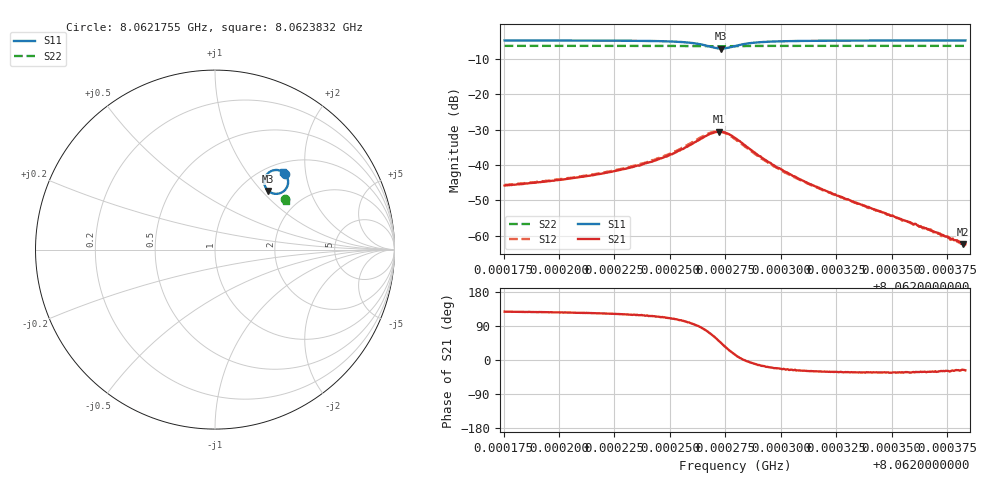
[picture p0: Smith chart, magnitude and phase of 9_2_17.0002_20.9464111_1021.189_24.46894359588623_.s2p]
#  HZ  S  RI  R  50.00
! Rohde & Schwarz Vector Network Analyzer
! Rohde-Schwarz,ZNB20-2Port,1311601062101988,3.16
! Created: UTC 3/20/2024, 10:52:24 PM
! freq[Hz]  re:S11  im:S11  re:S21  im:S21  re:S12  im:S12  re:S22  im:S22
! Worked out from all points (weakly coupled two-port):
!   401 points, 8.0621755 GHz to 8.0623832 GHz, reference 50 ohm
!   highest |S21| = -30.58 dB at 8.0622721 GHz (marker M1); lowest = -62.4 dB at 8.0623822 GHz (marker M2)
!   lowest |S11| = -7.1 dB at 8.0622731 GHz (marker M3), VSWR 2.58, Z = 66.9 + j54.4 ohm
!   |S11| at or under -10 dB: nowhere
!   |S22| runs from -6.4 to -6.3 dB; largest |S21 - S12| = 0.0045
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8.06217547e9  0.3897 0.4228  -0.00312 0.00405  -0.00292 0.00433  0.3922 0.2809
8.06221027e9  0.3961 0.4146  -0.00386 0.00561  -0.00358 0.00595  0.3933 0.2788
8.06223104e9  0.4017 0.4042  -0.00449 0.00779  -0.00414 0.00826  0.3941 0.2773
8.06224506e9  0.4064 0.3888  -0.00492 0.011  -0.00425 0.0118  0.3944 0.2758
8.06225389e9  0.4072 0.3697  -0.00439 0.0152  -0.00327 0.0161  0.3944 0.2745
8.0622622e9  0.3938 0.3367  -0.000271 0.0218  0.00202 0.0227  0.3935 0.2729
8.06226791e9  0.3551 0.312  0.00887 0.0259  0.0126 0.0253  0.3914 0.2725
8.06227207e9  0.3079 0.3192  0.0188 0.0228  0.0222 0.0197  0.3898 0.2738
8.06227311e9  0.2971 0.3271  0.0208 0.0207  0.0238 0.0174  0.3895 0.2743
8.06227622e9  0.2767 0.3597  0.0244 0.0129  0.0252 0.0092  0.3895 0.2759
8.06227934e9  0.2762 0.3926  0.0235 0.00579  0.023 0.00275  0.3904 0.2769
8.06228609e9  0.3025 0.4314  0.0167 -0.0018  0.0158 -0.00319  0.3922 0.2777
8.06229596e9  0.3335 0.4432  0.00961 -0.00347  0.00905 -0.00414  0.3939 0.2771
8.06230479e9  0.3487 0.4432  0.00655 -0.00309  0.0061 -0.00349  0.3946 0.2764
8.06231413e9  0.3583 0.4413  0.00455 -0.00257  0.00428 -0.00282  0.3955 0.2757
8.06233335e9  0.3693 0.4374  0.0025 -0.00158  0.00235 -0.00173  0.3964 0.2744
8.06234893e9  0.3744 0.4348  0.00163 -0.00108  0.0016 -0.00116  0.397 0.2736
8.06236659e9  0.3783 0.4324  0.00106 -0.000639  0.00101 -0.000673  0.3977 0.2726
8.06237334e9  0.3795 0.4315  0.000886 -0.000486  0.000824 -0.00058  0.398 0.2723
8.06238061e9  0.3808 0.4308  0.000726 -0.000384  0.000701 -0.000433  0.3982 0.2719
8.06238217e9  0.381 0.4306  0.000678 -0.000331  0.000643 -0.000351  0.3982 0.2716
8.0623832e9  0.3813 0.4305  0.000676 -0.000349  0.000609 -0.000366  0.3983 0.2717
